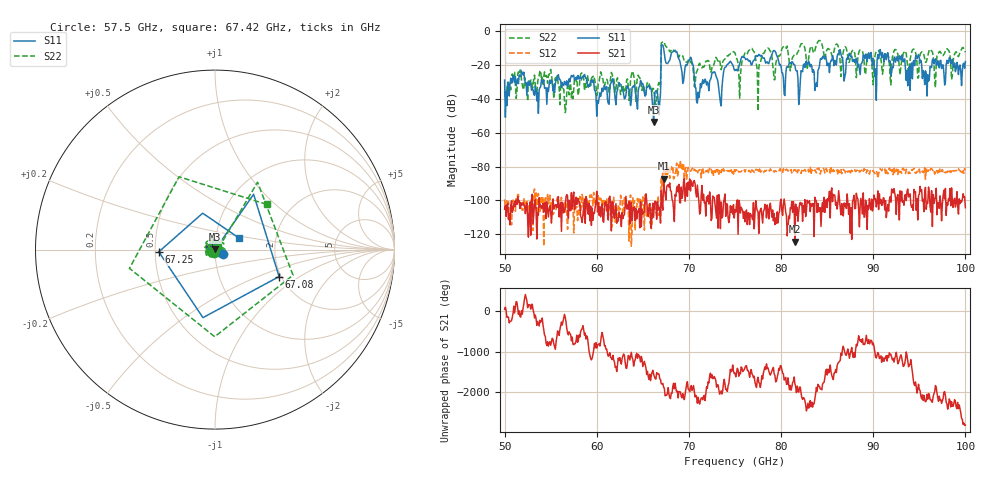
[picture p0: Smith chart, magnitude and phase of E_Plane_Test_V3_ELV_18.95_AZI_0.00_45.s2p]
! 11/26/2026 4:29:36 PM
! C:\ANRITSUVNA\TEMP\TEMP.S2P
! CHANNEL.1
! TR.MEASUREMENT
! RAW.DATA
# HZ S RI R 50.0
! FREQ.HZ  S11RE  S11IM  S21RE  S21IM  S12RE  S12IM  S22RE  S22IM
!; PortSelection: Port_12
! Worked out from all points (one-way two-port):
!   601 points, 50 GHz to 100 GHz, reference 50 ohm
!   highest |S21| = -87.07 dB at 67.25 GHz (marker M1); lowest = -124.3 dB at 81.5 GHz (marker M2)
!   lowest |S11| = -53.8 dB at 66.17 GHz (marker M3), VSWR 1.00, Z = 50.1 + j0.153 ohm
!   |S11| at or under -10 dB: start of sweep to 67 GHz; 67.25 GHz to end of sweep
!   |S22| runs from -48.2 to -5.6 dB; largest |S21 - S12| = 0.00015
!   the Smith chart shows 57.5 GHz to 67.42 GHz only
!   S11 on the Smith chart (normalised r, x): 57.5 GHz: 1.09, -0.05; 67.08 GHz: 1.95, -0.69; 67.25 GHz: 0.52, -0.01; 67.42 GHz: 1.29, +0.17
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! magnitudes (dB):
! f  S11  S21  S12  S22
! 50 GHz  -29.0  -105.2  -99.4  -35.5
! 57.5 GHz  -26.1  -95.0  -119.2  -34.6
! 58.42 GHz  -27.1  -113.0  -96.5  -24.8
! 60.17 GHz  -42.7  -101.1  -97.2  -30.3
! 66.17 GHz  -53.8  -109.9  -104.8  -34.0
! 66.67 GHz  -41.5  -104.5  -97.2  -31.6
! 67.08 GHz  -8.2  -101.7  -92.3  -6.8
! 67.25 GHz  -10.1  -87.1  -81.7  -6.2
! 67.42 GHz  -16.6  -96.1  -87.6  -8.3
! 70.25 GHz  -15.9  -88.5  -82.4  -18.7
! 70.92 GHz  -42.6  -90.9  -84.2  -23.2
! 75 GHz  -23.4  -105.5  -82.9  -13.0
! 75.5 GHz  -19.5  -101.6  -83.0  -39.6
! 76.67 GHz  -18.0  -107.7  -82.9  -11.3
! 77.5 GHz  -14.7  -106.4  -82.0  -47.3
! 81.5 GHz  -20.3  -124.3  -82.1  -14.0
! 83.42 GHz  -24.4  -101.8  -82.7  -10.8
! 91.67 GHz  -16.6  -106.3  -83.4  -15.2
! 93.75 GHz  -32.4  -93.3  -83.1  -21.2
! 94.83 GHz  -15.1  -111.5  -83.0  -27.9
! 95.83 GHz  -38.4  -101.1  -82.4  -16.5
! 100 GHz  -18.0  -104.3  -82.2  -12.5
